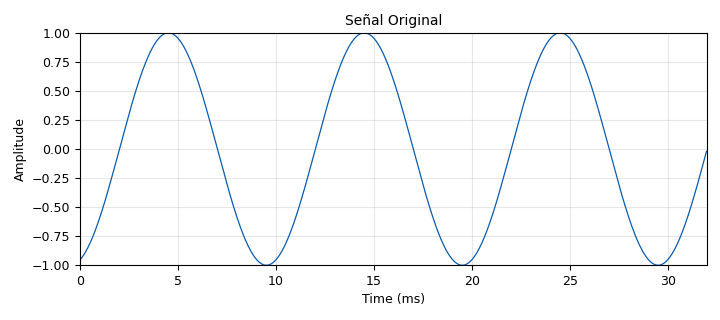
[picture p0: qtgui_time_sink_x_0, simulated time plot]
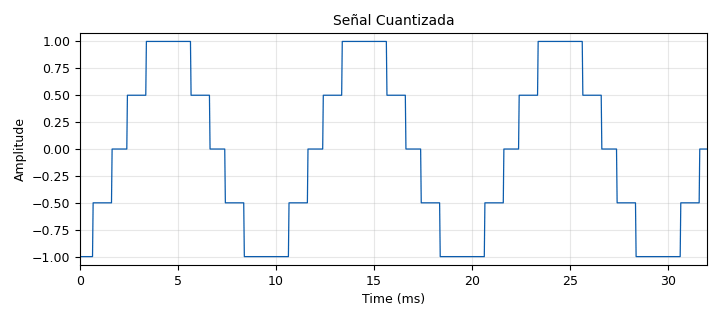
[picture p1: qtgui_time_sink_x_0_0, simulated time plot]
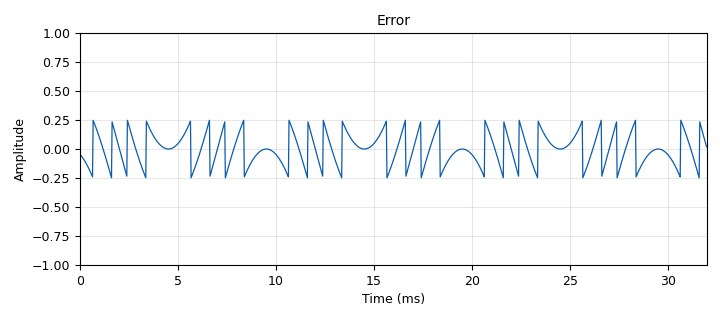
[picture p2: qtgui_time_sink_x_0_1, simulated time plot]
options:
  parameters:
    generate_options: qt_gui
    id: Ejercicio9e
    output_language: python
    title: Not titled yet
  states: {}

blocks:
- name: samp_rate
  id: variable
  parameters:
    value: '32000'
  states: {}
- name: analog_sig_source_x_0_0
  id: analog_sig_source_x
  parameters:
    amp: '1'
    freq: '100'
    offset: '0'
    phase: '0'
    samp_rate: samp_rate
    type: float
    waveform: analog.GR_SIN_WAVE
  states: {}
- name: blocks_sub_xx_0
  id: blocks_sub_xx
  parameters:
    type: float
  states: {}
- name: blocks_throttle_0_0
  id: blocks_throttle
  parameters:
    samples_per_second: samp_rate
    type: float
  states: {}
- name: channels_quantizer_0_0
  id: channels_quantizer
  parameters:
    bits: '2'
  states: {}
- name: qtgui_time_sink_x_0
  id: qtgui_time_sink_x
  parameters:
    name: Señal Original
    size: '1024'
    srate: samp_rate
    type: float
  states: {}
- name: qtgui_time_sink_x_0_0
  id: qtgui_time_sink_x
  parameters:
    name: Señal Cuantizada
    size: '1024'
    srate: samp_rate
    type: float
  states: {}
- name: qtgui_time_sink_x_0_1
  id: qtgui_time_sink_x
  parameters:
    name: Error
    size: '1024'
    srate: samp_rate
    type: float
  states: {}

connections:
- [analog_sig_source_x_0_0, '0', blocks_throttle_0_0, '0']
- [blocks_sub_xx_0, '0', qtgui_time_sink_x_0_1, '0']
- [blocks_throttle_0_0, '0', blocks_sub_xx_0, '1']
- [blocks_throttle_0_0, '0', channels_quantizer_0_0, '0']
- [blocks_throttle_0_0, '0', qtgui_time_sink_x_0, '0']
- [channels_quantizer_0_0, '0', blocks_sub_xx_0, '0']
- [channels_quantizer_0_0, '0', qtgui_time_sink_x_0_0, '0']

metadata:
  file_format: 1
  grc_version: 3.10.4.0
